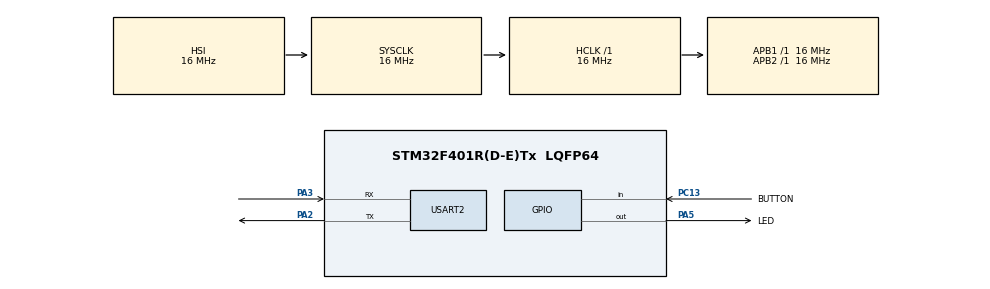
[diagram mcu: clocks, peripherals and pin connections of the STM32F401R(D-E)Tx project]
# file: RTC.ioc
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Mcu.Family=STM32F4
Mcu.Name=STM32F401R(D-E)Tx
Mcu.Package=LQFP64
NVIC.PriorityGroup=NVIC_PRIORITYGROUP_4
PA13.Mode=Serial_Wire
PA13.Signal=SYS_JTMS-SWDIO
PA14.Mode=Serial_Wire
PA14.Signal=SYS_JTCK-SWCLK
PA2.Mode=Asynchronous
PA2.Signal=USART2_TX
PA3.Mode=Asynchronous
PA3.Signal=USART2_RX
PA5.GPIO_Label=LED
PA5.Signal=GPIO_Output
PC13-ANTI_TAMP.GPIO_Label=BUTTON
PC13-ANTI_TAMP.Signal=GPIO_Input
PC14-OSC32_IN.Mode=LSE-External-Oscillator
PC14-OSC32_IN.Signal=RCC_OSC32_IN
PC15-OSC32_OUT.Mode=LSE-External-Oscillator
PC15-OSC32_OUT.Signal=RCC_OSC32_OUT
ProjectManager.HeapSize=0x200
ProjectManager.StackSize=0x400
ProjectManager.TargetToolchain=STM32CubeIDE
RCC.AHBFreq_Value=16000000
RCC.APB1Freq_Value=16000000
RCC.APB1TimFreq_Value=16000000
RCC.APB2Freq_Value=16000000
RCC.APB2TimFreq_Value=16000000
RCC.CortexFreq_Value=16000000
RCC.HCLKFreq_Value=16000000
RCC.HSE_VALUE=25000000
RCC.HSI_VALUE=16000000
RCC.RCC_RTC_Clock_Source=RCC_RTCCLKSOURCE_LSE
RCC.SYSCLKFreq_VALUE=16000000
RCC.VCOOutputFreq_Value=192000000
USART2.VirtualMode=VM_ASYNC
VP_RTC_VS_RTC_Activate.Mode=RTC_Enabled
board=custom

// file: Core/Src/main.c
/* USER CODE BEGIN Header */
/**
  ******************************************************************************
  * @file           : main.c
  * @brief          : Main program body
  ******************************************************************************
  * @attention
  *
  * Copyright (c) 2023 STMicroelectronics.
  * All rights reserved.
  *
  * This software is licensed under terms that can be found in the LICENSE file
  * in the root directory of this software component.
  * If no LICENSE file comes with this software, it is provided AS-IS.
  *
  ******************************************************************************
  */
/* USER CODE END Header */
#include "main.h"

/* USER CODE BEGIN Includes */
#include <stdio.h>
#include <string.h>
#include <stdbool.h>
/* USER CODE END Includes */

RTC_HandleTypeDef hrtc;

UART_HandleTypeDef huart2;

void SystemClock_Config(void);
static void MX_GPIO_Init(void);
static void MX_USART2_UART_Init(void);
static void MX_RTC_Init(void);

/* USER CODE BEGIN 0 */
int __io_putchar(int ch)
{
    if (ch == '\n') {
        uint8_t ch2 = '\r';
        HAL_UART_Transmit(&huart2, &ch2, 1, HAL_MAX_DELAY);
    }

    HAL_UART_Transmit(&huart2, (uint8_t*)&ch, 1, HAL_MAX_DELAY);
    return 1;
}

bool is_button_pressed(void)
{
  if (HAL_GPIO_ReadPin(BUTTON_GPIO_Port, BUTTON_Pin) == GPIO_PIN_RESET) {
    return true;
  } else {
    return false;
  }
}
/* USER CODE END 0 */

int main(void)
{

  /* MCU Configuration--------------------------------------------------------*/

  /* Reset of all peripherals, Initializes the Flash interface and the Systick. */
  HAL_Init();

  /* Configure the system clock */
  SystemClock_Config();

  /* Initialize all configured peripherals */
  MX_GPIO_Init();
  MX_USART2_UART_Init();
  MX_RTC_Init();

  /* Infinite loop */
  /* USER CODE BEGIN WHILE */
  while (1)
  {
	  RTC_TimeTypeDef time;
	  RTC_DateTypeDef date;

	  // jeśli naciśnięto przycisk
	  if (is_button_pressed()) {
	  	// ważne: nieużywane pola muszą być wyzerowane
	  	RTC_TimeTypeDef new_time = {0};

	  	// czekamy na zwolnienie przycisku
	  	while (is_button_pressed()) {}

	  	// ustawiamy godzinę 07:45:00
	  	new_time.Hours = 7;
	  	new_time.Minutes = 45;
	  	new_time.Seconds = 0;
	  	HAL_RTC_SetTime(&hrtc, &new_time, RTC_FORMAT_BIN);
	  }

	  HAL_RTC_GetTime(&hrtc, &time, RTC_FORMAT_BIN);
	  HAL_RTC_GetDate(&hrtc, &date, RTC_FORMAT_BIN);

	  printf("RTC: %02d:%02d:%02d\n", time.Hours, time.Minutes, time.Seconds);
	  HAL_Delay(200);
    /* USER CODE END WHILE */

  }
}

void SystemClock_Config(void)
{
  RCC_OscInitTypeDef RCC_OscInitStruct = {0};
  RCC_ClkInitTypeDef RCC_ClkInitStruct = {0};

  /** Configure the main internal regulator output voltage
  */
  __HAL_RCC_PWR_CLK_ENABLE();
  __HAL_PWR_VOLTAGESCALING_CONFIG(PWR_REGULATOR_VOLTAGE_SCALE2);
  /** Initializes the RCC Oscillators according to the specified parameters
  * in the RCC_OscInitTypeDef structure.
  */
  RCC_OscInitStruct.OscillatorType = RCC_OSCILLATORTYPE_HSI|RCC_OSCILLATORTYPE_LSE;
  RCC_OscInitStruct.LSEState = RCC_LSE_ON;
  RCC_OscInitStruct.HSIState = RCC_HSI_ON;
  RCC_OscInitStruct.HSICalibrationValue = RCC_HSICALIBRATION_DEFAULT;
  RCC_OscInitStruct.PLL.PLLState = RCC_PLL_NONE;
  if (HAL_RCC_OscConfig(&RCC_OscInitStruct) != HAL_OK)
  {
    Error_Handler();
  }
  /** Initializes the CPU, AHB and APB buses clocks
  */
  RCC_ClkInitStruct.ClockType = RCC_CLOCKTYPE_HCLK|RCC_CLOCKTYPE_SYSCLK
                              |RCC_CLOCKTYPE_PCLK1|RCC_CLOCKTYPE_PCLK2;
  RCC_ClkInitStruct.SYSCLKSource = RCC_SYSCLKSOURCE_HSI;
  RCC_ClkInitStruct.AHBCLKDivider = RCC_SYSCLK_DIV1;
  RCC_ClkInitStruct.APB1CLKDivider = RCC_HCLK_DIV1;
  RCC_ClkInitStruct.APB2CLKDivider = RCC_HCLK_DIV1;

  if (HAL_RCC_ClockConfig(&RCC_ClkInitStruct, FLASH_LATENCY_0) != HAL_OK)
  {
    Error_Handler();
  }
}

static void MX_RTC_Init(void)
{

  /** Initialize RTC Only
  */
  hrtc.Instance = RTC;
  hrtc.Init.HourFormat = RTC_HOURFORMAT_24;
  hrtc.Init.AsynchPrediv = 127;
  hrtc.Init.SynchPrediv = 255;
  hrtc.Init.OutPut = RTC_OUTPUT_DISABLE;
  hrtc.Init.OutPutPolarity = RTC_OUTPUT_POLARITY_HIGH;
  hrtc.Init.OutPutType = RTC_OUTPUT_TYPE_OPENDRAIN;
  if (HAL_RTC_Init(&hrtc) != HAL_OK)
  {
    Error_Handler();
  }

}

static void MX_USART2_UART_Init(void)
{

  huart2.Instance = USART2;
  huart2.Init.BaudRate = 115200;
  huart2.Init.WordLength = UART_WORDLENGTH_8B;
  huart2.Init.StopBits = UART_STOPBITS_1;
  huart2.Init.Parity = UART_PARITY_NONE;
  huart2.Init.Mode = UART_MODE_TX_RX;
  huart2.Init.HwFlowCtl = UART_HWCONTROL_NONE;
  huart2.Init.OverSampling = UART_OVERSAMPLING_16;
  if (HAL_UART_Init(&huart2) != HAL_OK)
  {
    Error_Handler();
  }

}

static void MX_GPIO_Init(void)
{
  GPIO_InitTypeDef GPIO_InitStruct = {0};

  /* GPIO Ports Clock Enable */
  __HAL_RCC_GPIOC_CLK_ENABLE();
  __HAL_RCC_GPIOA_CLK_ENABLE();

  /*Configure GPIO pin Output Level */
  HAL_GPIO_WritePin(LED_GPIO_Port, LED_Pin, GPIO_PIN_RESET);

  /*Configure GPIO pin : BUTTON_Pin */
  GPIO_InitStruct.Pin = BUTTON_Pin;
  GPIO_InitStruct.Mode = GPIO_MODE_INPUT;
  GPIO_InitStruct.Pull = GPIO_NOPULL;
  HAL_GPIO_Init(BUTTON_GPIO_Port, &GPIO_InitStruct);

  /*Configure GPIO pin : LED_Pin */
  GPIO_InitStruct.Pin = LED_Pin;
  GPIO_InitStruct.Mode = GPIO_MODE_OUTPUT_PP;
  GPIO_InitStruct.Pull = GPIO_NOPULL;
  GPIO_InitStruct.Speed = GPIO_SPEED_FREQ_LOW;
  HAL_GPIO_Init(LED_GPIO_Port, &GPIO_InitStruct);

}

void Error_Handler(void)
{
  __disable_irq();
  while (1)
  {
  }
}
